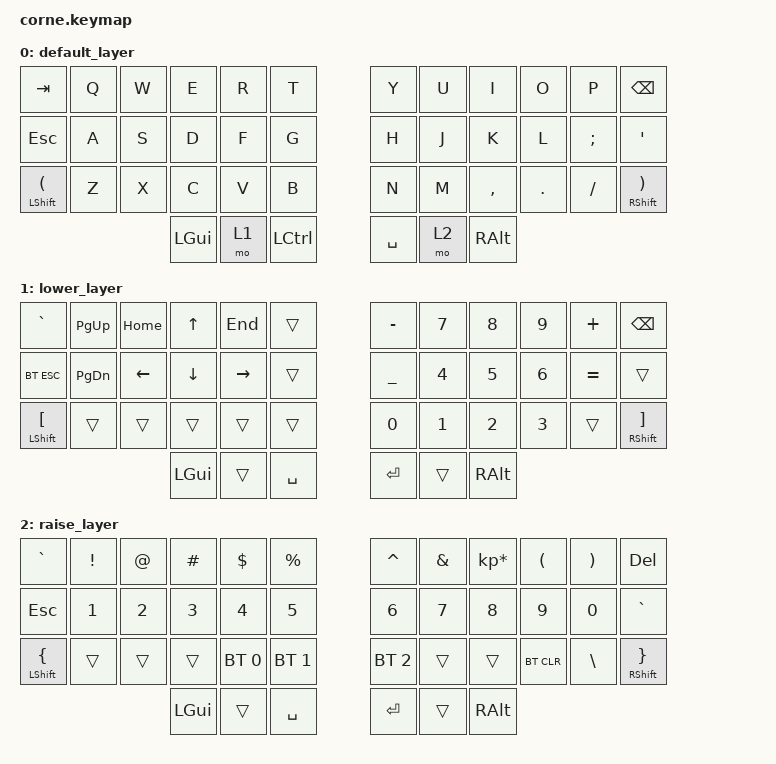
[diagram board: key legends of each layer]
/*
 * Copyright (c) 2020 The ZMK Contributors
 *
 * SPDX-License-Identifier: MIT
 */

#include <behaviors.dtsi>
#include <dt-bindings/zmk/keys.h>
#include <dt-bindings/zmk/bt.h>

/ {
        keymap {
                compatible = "zmk,keymap";

                default_layer {
// -----------------------------------------------------------------------------------------
// | TAB  |  Q  |  W  |  E  |  R  |  T  |   |  Y  |  U   |  I  |  O  |  P  | BKSP |
// | ESC  |  A  |  S  |  D  |  F  |  G  |   |  H  |  J   |  K  |  L  |  ;  |  '   |
// |SHFT( |  Z  |  X  |  C  |  V  |  B  |   |  N  |  M   |  ,  |  .  |  /  |SHFT) |
//                    | GUI | LWR | CTL |   | SPC | RSE  | ALT |
                        bindings = <
   &kp TAB        &kp Q &kp W &kp E &kp R &kp T   &kp Y     &kp U  &kp I     &kp O   &kp P    &kp BSPC
   &kp ESC        &kp A &kp S &kp D &kp F &kp G   &kp H     &kp J  &kp K     &kp L   &kp SEMI &kp SQT
   &mt LSHFT LPAR &kp Z &kp X &kp C &kp V &kp B   &kp N     &kp M  &kp COMMA &kp DOT &kp FSLH &mt RSHFT RPAR
                               &kp LGUI &mo 1 &kp LCTRL     &kp SPACE &mo 2 &kp RALT
                        >;
                };
                lower_layer {
// -----------------------------------------------------------------------------------------
// | ` ~ |PGUP | HOME| UP  | END |     |   |  -  |  7  |  8  |  9  |     | BKSP |
// | ESC |PGDN | LFT | DWN | RGT |     |   |  _  |  4  |  5  |  6  |  =  |      |
// |SHF[ |     |     |     |     |     |   |  0  |  1  |  2  |  3  |     | SHF] |
//                   | GUI |     | SPC |   | ENT |     | ALT |
                        bindings = <
   &kp GRAVE        &kp PG_UP  &kp HOME  &kp UP    &kp END    &trans         &kp MINUS  &kp N7   &kp N8   &kp N9  &kp PLUS  &kp BSPC
   &bt ESC          &kp PG_DN  &kp LEFT  &kp DOWN  &kp RIGHT  &trans         &kp UNDER  &kp N4   &kp N5   &kp N6  &kp EQUAL &trans
   &mt LSHFT LBKT   &trans     &trans    &trans    &trans     &trans         &kp N0     &kp N1   &kp N2   &kp N3  &trans    &mt RSHFT RBKT
                                         &kp LGUI  &trans     &kp SPACE      &kp RET    &trans   &kp RALT
                        >;
                };

                raise_layer {
// -----------------------------------------------------------------------------------------
// | ` ~  |  !  |  @  |  #  |  $  |  %  |   |  ^  |  &  |  *  |  (  |  )  | DEL  |
// | ESC  |  1  |  2  |  3  |  4  |  5  |   |  6  |  7  |  8  |  9  |  0  |  `   |
// |SHFT{ |     |     |     | BT0 | BT1 |   | BT2 |     |     |BTCLR|  \  | SHFT}|
//                    | GUI |     | SPC |   | ENT |     | ALT |
                        bindings = <
   &kp GRAVE      &kp EXCL  &kp AT  &kp HASH  &kp DLLR     &kp PRCNT            &kp CARET    &kp AMPS  &kp KP_MULTIPLY &kp LPAR   &kp RPAR &kp DEL
   &kp ESC        &kp N1    &kp N2  &kp N3    &kp N4       &kp N5               &kp N6       &kp N7    &kp N8          &kp N9     &kp N0   &kp GRAVE
   &mt LSHFT LBRC &trans    &trans  &trans    &bt BT_SEL 0 &bt BT_SEL 1         &bt BT_SEL 2 &trans    &trans          &bt BT_CLR &kp BSLH &mt RSHFT RBRC
                                    &kp LGUI  &trans       &kp SPACE            &kp RET    &trans    &kp RALT
                        >;
                };
        };
};
